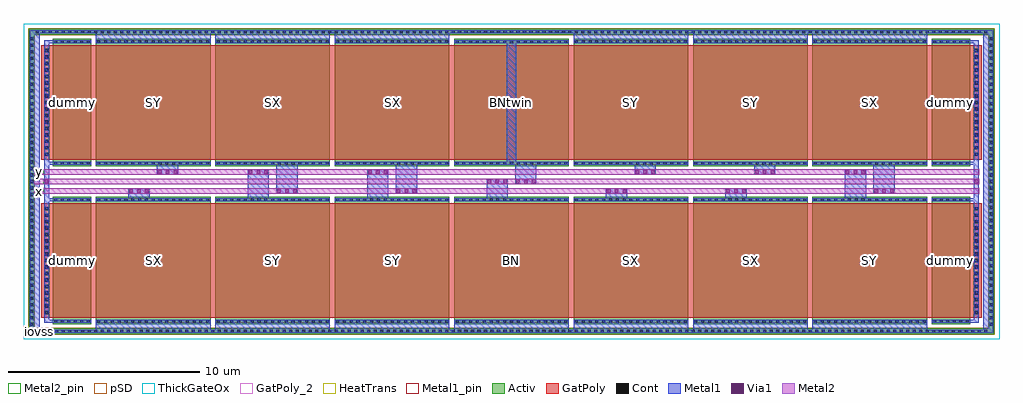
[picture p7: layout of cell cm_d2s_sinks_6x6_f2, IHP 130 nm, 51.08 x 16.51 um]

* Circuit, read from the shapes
.subckt cm_d2s_sinks_6x6_f2 iovss vbn x y
XM1 vbn vbn vbn iovss sg13_hv_nmos w=2u l=6u m=4
XM2 x vbn iovss iovss sg13_hv_nmos w=6u l=6u m=6
XM3 iovss vbn y iovss sg13_hv_nmos w=6u l=6u m=6
XM4 vbn vbn iovss iovss sg13_hv_nmos w=6u l=6u
XM5 vbn vbn vbn iovss sg13_hv_nmos w=6u l=6u
.ends

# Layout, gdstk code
from math import pi, radians
import gdstk
lib = gdstk.Library(unit=1e-6, precision=1e-09)
def R(c, l, rs):  # rectangles x0, y0, x1, y1
    for r in rs: c.add(gdstk.rectangle(r[:2], r[2:], *l))
def A(c, l, x, y, w, h, nx, ny, dx, dy):  # array of equal rectangles
    R(c, l, [(x+i*dx, y+j*dy, x+i*dx+w, y+j*dy+h) for i in range(nx) for j in range(ny)])
Activ = (1, 0)
GatPoly = (5, 0)
GatPoly_2 = (5, 2)
Cont = (6, 0)
Metal1 = (8, 0)
Metal1_pin = (8, 2)
Metal2 = (10, 0)
Metal2_pin = (10, 2)
pSD = (14, 0)
Via1 = (19, 0)
ThickGateOx = (44, 0)
HeatTrans = (51, 0)

cm_d2s_nmoshv_7 = lib.new_cell('cm_d2s_nmosHV_7')
R(cm_d2s_nmoshv_7, Activ, [(0,0,0.3,0.3), (0,0,6.68,2), (6.38,0,6.68,0.3)])
R(cm_d2s_nmoshv_7, GatPoly, [(0.34,-0.18,6.34,2.18)])
R(cm_d2s_nmoshv_7, GatPoly_2, [(0.34,-0.18,6.34,2.18)])
A(cm_d2s_nmoshv_7, Cont, 0.07, 0.07, 0.16, 0.16, 1, 6, 0, 0.34)
A(cm_d2s_nmoshv_7, Cont, 6.45, 0.07, 0.16, 0.16, 1, 6, 0, 0.34)
R(cm_d2s_nmoshv_7, Metal1, [(0.07,0,0.23,2), (6.45,0,6.61,2)])
R(cm_d2s_nmoshv_7, Metal1_pin, [(0.07,0,0.23,2), (6.45,0,6.61,2)])
R(cm_d2s_nmoshv_7, ThickGateOx, [(-0.27,-0.52,6.95,2.52)])
R(cm_d2s_nmoshv_7, HeatTrans, [(0.34,-0.18,6.34,2.18)])
cm_d2s_nmoshv_7.add(gdstk.Label('nmosHV', (3.34,1), layer=63, texttype=0))
cm_d2s_nmoshv_7.add(gdstk.Label('nmosHV', (3.34,1), layer=51, texttype=0))

cm_d2s_nmoshv_3 = lib.new_cell('cm_d2s_nmosHV_3')
R(cm_d2s_nmoshv_3, Activ, [(0,0,0.3,0.3), (0,0,6.68,6), (6.38,0,6.68,0.3)])
R(cm_d2s_nmoshv_3, GatPoly, [(0.34,-0.18,6.34,6.18)])
R(cm_d2s_nmoshv_3, GatPoly_2, [(0.34,-0.18,6.34,6.18)])
A(cm_d2s_nmoshv_3, Cont, 0.07, 0.07, 0.16, 0.16, 1, 4, 0, 0.355)
A(cm_d2s_nmoshv_3, Cont, 6.45, 0.07, 0.16, 0.16, 1, 4, 0, 0.355)
A(cm_d2s_nmoshv_3, Cont, 0.07, 1.495, 0.16, 0.16, 1, 4, 0, 0.355)
A(cm_d2s_nmoshv_3, Cont, 6.45, 1.495, 0.16, 0.16, 1, 4, 0, 0.355)
A(cm_d2s_nmoshv_3, Cont, 0.07, 2.92, 0.16, 0.16, 1, 4, 0, 0.355)
A(cm_d2s_nmoshv_3, Cont, 6.45, 2.92, 0.16, 0.16, 1, 4, 0, 0.355)
A(cm_d2s_nmoshv_3, Cont, 0.07, 4.345, 0.16, 0.16, 1, 4, 0, 0.355)
A(cm_d2s_nmoshv_3, Cont, 6.45, 4.345, 0.16, 0.16, 1, 4, 0, 0.355)
R(cm_d2s_nmoshv_3, Cont, [(0.07,5.77,0.23,5.93), (6.45,5.77,6.61,5.93)])
R(cm_d2s_nmoshv_3, Metal1, [(0.07,0,0.23,6), (6.45,0,6.61,6)])
R(cm_d2s_nmoshv_3, Metal1_pin, [(0.07,0,0.23,6), (6.45,0,6.61,6)])
R(cm_d2s_nmoshv_3, ThickGateOx, [(-0.27,-0.52,6.95,6.52)])
R(cm_d2s_nmoshv_3, HeatTrans, [(0.34,-0.18,6.34,6.18)])
cm_d2s_nmoshv_3.add(gdstk.Label('nmosHV', (3.34,3), layer=63, texttype=0))
cm_d2s_nmoshv_3.add(gdstk.Label('nmosHV', (3.34,3), layer=51, texttype=0))

cm_d2s_sinks_6x6_f2 = lib.new_cell('cm_d2s_sinks_6x6_f2')
R(cm_d2s_sinks_6x6_f2, Activ, [(-1.27,-0.51,-0.97,15.46), (-0.97,-0.51,48.97,-0.21), (48.97,-0.51,49.27,15.46), (-1.27,-0.21,-0.97,15.16), (48.97,-0.21,49.27,15.16), (-0.97,15.16,48.97,15.46)])
R(cm_d2s_sinks_6x6_f2, GatPoly, [(-0.6,0.34,-0.1,6.34), (48.1,0.34,48.6,6.34), (-0.6,8.61,-0.1,14.61), (48.1,8.61,48.6,14.61)])
A(cm_d2s_sinks_6x6_f2, Cont, -0.9, -0.44, 0.16, 0.16, 147, 2, 0.34, 15.67)
A(cm_d2s_sinks_6x6_f2, Cont, -1.2, -0.085, 0.16, 0.16, 1, 45, 0, 0.34)
A(cm_d2s_sinks_6x6_f2, Cont, 49.04, -0.085, 0.16, 0.16, 1, 45, 0, 0.34)
A(cm_d2s_sinks_6x6_f2, Cont, -0.41, 0.54, 0.16, 0.16, 1, 17, 0, 0.34)
A(cm_d2s_sinks_6x6_f2, Cont, 48.25, 0.54, 0.16, 0.16, 1, 17, 0, 0.34)
A(cm_d2s_sinks_6x6_f2, Cont, -0.41, 8.81, 0.16, 0.16, 1, 17, 0, 0.34)
A(cm_d2s_sinks_6x6_f2, Cont, 48.25, 8.81, 0.16, 0.16, 1, 17, 0, 0.34)
A(cm_d2s_sinks_6x6_f2, Metal1, 2.25, -0.44, 6, 0.67, 7, 1, 6.25, 0)
A(cm_d2s_sinks_6x6_f2, Metal1, 2.25, 14.72, 6, 0.67, 3, 1, 6.25, 0)
A(cm_d2s_sinks_6x6_f2, Metal1, 27.25, 14.72, 6, 0.67, 3, 1, 6.25, 0)
R(cm_d2s_sinks_6x6_f2, Metal1, [(-1.2,-0.44,-0.68,15.39), (-0.97,-0.44,-0.68,15.39), (-0.95,-0.44,48.95,-0.28), (48.68,-0.44,48.97,15.39), (48.68,-0.44,49.2,15.39), (-1.2,-0.135,-1.04,15.085), (49.04,-0.135,49.2,15.085), (-0.46,0.07,-0.2,14.88), (-0.33,0.07,0.1,0.23), (47.9,0.07,48.33,0.23), (48.2,0.07,48.46,14.88), (-0.33,6.45,0.1,6.61), (3.945,6.45,5.055,7.12), (10.195,6.45,11.305,8.12), (16.445,6.45,17.555,8.12), (22.695,6.45,23.805,7.62), (28.945,6.45,30.055,7.12), (35.195,6.45,36.305,7.12), (41.445,6.45,42.555,8.12), (47.9,6.45,48.33,6.61), (11.695,6.83,12.805,8.5), (17.945,6.83,19.055,8.5), (42.945,6.83,44.055,8.5), (24.195,7.33,25.305,8.5), (5.445,7.83,6.555,8.5), (30.445,7.83,31.555,8.5), (36.695,7.83,37.805,8.5), (-0.33,8.34,0.1,8.5), (23.75,8.34,24.25,14.88), (47.9,8.34,48.33,8.5), (-0.33,14.72,0.1,14.88), (47.9,14.72,48.33,14.88), (-0.95,15.23,48.95,15.39)])
R(cm_d2s_sinks_6x6_f2, Metal1_pin, [(-0.95,-0.44,-0.45,-0.28)])
A(cm_d2s_sinks_6x6_f2, Metal2, -0.97, 6.83, 49.445, 0.29, 1, 3, 0, 0.5)
A(cm_d2s_sinks_6x6_f2, Metal2_pin, -0.97, 6.83, 0.5, 0.29, 1, 3, 0, 0.5)
R(cm_d2s_sinks_6x6_f2, pSD, [(-1.3,-0.54,-0.94,15.49), (-1,-0.54,49,-0.18), (48.94,-0.54,49.3,15.49), (-1.3,-0.24,-0.94,15.19), (48.94,-0.24,49.3,15.19), (-1,15.13,49,15.49)])
A(cm_d2s_sinks_6x6_f2, Via1, 3.995, 6.88, 0.19, 0.19, 3, 1, 0.41, 0)
A(cm_d2s_sinks_6x6_f2, Via1, 11.745, 6.88, 0.19, 0.19, 3, 1, 0.41, 0)
A(cm_d2s_sinks_6x6_f2, Via1, 17.995, 6.88, 0.19, 0.19, 3, 1, 0.41, 0)
A(cm_d2s_sinks_6x6_f2, Via1, 28.995, 6.88, 0.19, 0.19, 3, 1, 0.41, 0)
A(cm_d2s_sinks_6x6_f2, Via1, 35.245, 6.88, 0.19, 0.19, 3, 1, 0.41, 0)
A(cm_d2s_sinks_6x6_f2, Via1, 42.995, 6.88, 0.19, 0.19, 3, 1, 0.41, 0)
A(cm_d2s_sinks_6x6_f2, Via1, 22.745, 7.38, 0.19, 0.19, 3, 1, 0.41, 0)
A(cm_d2s_sinks_6x6_f2, Via1, 24.245, 7.38, 0.19, 0.19, 3, 1, 0.41, 0)
A(cm_d2s_sinks_6x6_f2, Via1, 5.495, 7.88, 0.19, 0.19, 3, 1, 0.41, 0)
A(cm_d2s_sinks_6x6_f2, Via1, 10.245, 7.88, 0.19, 0.19, 3, 1, 0.41, 0)
A(cm_d2s_sinks_6x6_f2, Via1, 16.495, 7.88, 0.19, 0.19, 3, 1, 0.41, 0)
A(cm_d2s_sinks_6x6_f2, Via1, 30.495, 7.88, 0.19, 0.19, 3, 1, 0.41, 0)
A(cm_d2s_sinks_6x6_f2, Via1, 36.745, 7.88, 0.19, 0.19, 3, 1, 0.41, 0)
A(cm_d2s_sinks_6x6_f2, Via1, 41.495, 7.88, 0.19, 0.19, 3, 1, 0.41, 0)
R(cm_d2s_sinks_6x6_f2, Via1, [(-0.425,7.38,-0.235,7.57), (48.235,7.38,48.425,7.57)])
R(cm_d2s_sinks_6x6_f2, ThickGateOx, [(-1.54,-0.78,49.54,15.73), (-1.24,-0.78,49.24,15.73)])
cm_d2s_sinks_6x6_f2.add(gdstk.Reference(cm_d2s_nmoshv_7, (0,6.68), rotation=3*pi/2))
cm_d2s_sinks_6x6_f2.add(gdstk.Reference(cm_d2s_nmoshv_7, (0,14.95), rotation=3*pi/2))
cm_d2s_sinks_6x6_f2.add(gdstk.Reference(cm_d2s_nmoshv_7, (48,14.95), rotation=3*pi/2, x_reflection=True))
cm_d2s_sinks_6x6_f2.add(gdstk.Reference(cm_d2s_nmoshv_7, (48,6.68), rotation=3*pi/2, x_reflection=True))
cm_d2s_sinks_6x6_f2.add(gdstk.Reference(cm_d2s_nmoshv_3, (21,6.68), rotation=3*pi/2))
cm_d2s_sinks_6x6_f2.add(gdstk.Reference(cm_d2s_nmoshv_3, (14.75,6.68), rotation=3*pi/2))
cm_d2s_sinks_6x6_f2.add(gdstk.Reference(cm_d2s_nmoshv_3, (8.5,6.68), rotation=3*pi/2))
cm_d2s_sinks_6x6_f2.add(gdstk.Reference(cm_d2s_nmoshv_3, (2.25,14.95), rotation=3*pi/2))
cm_d2s_sinks_6x6_f2.add(gdstk.Reference(cm_d2s_nmoshv_3, (8.5,14.95), rotation=3*pi/2))
cm_d2s_sinks_6x6_f2.add(gdstk.Reference(cm_d2s_nmoshv_3, (14.75,14.95), rotation=3*pi/2))
cm_d2s_sinks_6x6_f2.add(gdstk.Reference(cm_d2s_nmoshv_3, (21,14.95), rotation=3*pi/2))
cm_d2s_sinks_6x6_f2.add(gdstk.Reference(cm_d2s_nmoshv_3, (2.25,6.68), rotation=3*pi/2))
cm_d2s_sinks_6x6_f2.add(gdstk.Reference(cm_d2s_nmoshv_3, (33.25,6.68), rotation=3*pi/2, x_reflection=True))
cm_d2s_sinks_6x6_f2.add(gdstk.Reference(cm_d2s_nmoshv_3, (39.5,6.68), rotation=3*pi/2, x_reflection=True))
cm_d2s_sinks_6x6_f2.add(gdstk.Reference(cm_d2s_nmoshv_3, (45.75,6.68), rotation=3*pi/2, x_reflection=True))
cm_d2s_sinks_6x6_f2.add(gdstk.Reference(cm_d2s_nmoshv_3, (33.25,14.95), rotation=3*pi/2, x_reflection=True))
cm_d2s_sinks_6x6_f2.add(gdstk.Reference(cm_d2s_nmoshv_3, (39.5,14.95), rotation=3*pi/2, x_reflection=True))
cm_d2s_sinks_6x6_f2.add(gdstk.Reference(cm_d2s_nmoshv_3, (45.75,14.95), rotation=3*pi/2, x_reflection=True))
cm_d2s_sinks_6x6_f2.add(gdstk.Label('dummy', (1,3.34), layer=63, texttype=0))
cm_d2s_sinks_6x6_f2.add(gdstk.Label('SX', (5.25,3.34), layer=63, texttype=0))
cm_d2s_sinks_6x6_f2.add(gdstk.Label('SY', (11.5,3.34), layer=63, texttype=0))
cm_d2s_sinks_6x6_f2.add(gdstk.Label('SY', (17.75,3.34), layer=63, texttype=0))
cm_d2s_sinks_6x6_f2.add(gdstk.Label('BN', (24,3.34), layer=63, texttype=0))
cm_d2s_sinks_6x6_f2.add(gdstk.Label('SX', (30.25,3.34), layer=63, texttype=0))
cm_d2s_sinks_6x6_f2.add(gdstk.Label('SX', (36.5,3.34), layer=63, texttype=0))
cm_d2s_sinks_6x6_f2.add(gdstk.Label('SY', (42.75,3.34), layer=63, texttype=0))
cm_d2s_sinks_6x6_f2.add(gdstk.Label('dummy', (47,3.34), layer=63, texttype=0))
cm_d2s_sinks_6x6_f2.add(gdstk.Label('dummy', (1,11.61), layer=63, texttype=0))
cm_d2s_sinks_6x6_f2.add(gdstk.Label('SY', (5.25,11.61), layer=63, texttype=0))
cm_d2s_sinks_6x6_f2.add(gdstk.Label('SX', (11.5,11.61), layer=63, texttype=0))
cm_d2s_sinks_6x6_f2.add(gdstk.Label('SX', (17.75,11.61), layer=63, texttype=0))
cm_d2s_sinks_6x6_f2.add(gdstk.Label('BNtwin', (24,11.61), layer=63, texttype=0))
cm_d2s_sinks_6x6_f2.add(gdstk.Label('SY', (30.25,11.61), layer=63, texttype=0))
cm_d2s_sinks_6x6_f2.add(gdstk.Label('SY', (36.5,11.61), layer=63, texttype=0))
cm_d2s_sinks_6x6_f2.add(gdstk.Label('SX', (42.75,11.61), layer=63, texttype=0))
cm_d2s_sinks_6x6_f2.add(gdstk.Label('dummy', (47,11.61), layer=63, texttype=0))
cm_d2s_sinks_6x6_f2.add(gdstk.Label('x', (-0.72,6.975), layer=10, texttype=25))
cm_d2s_sinks_6x6_f2.add(gdstk.Label('vbn', (-0.72,7.475), layer=10, texttype=25))
cm_d2s_sinks_6x6_f2.add(gdstk.Label('y', (-0.72,7.975), layer=10, texttype=25))
cm_d2s_sinks_6x6_f2.add(gdstk.Label('iovss', (-0.7,-0.36), layer=8, texttype=25))

lib.write_gds('cm_d2s_sinks_6x6_f2.gds')
